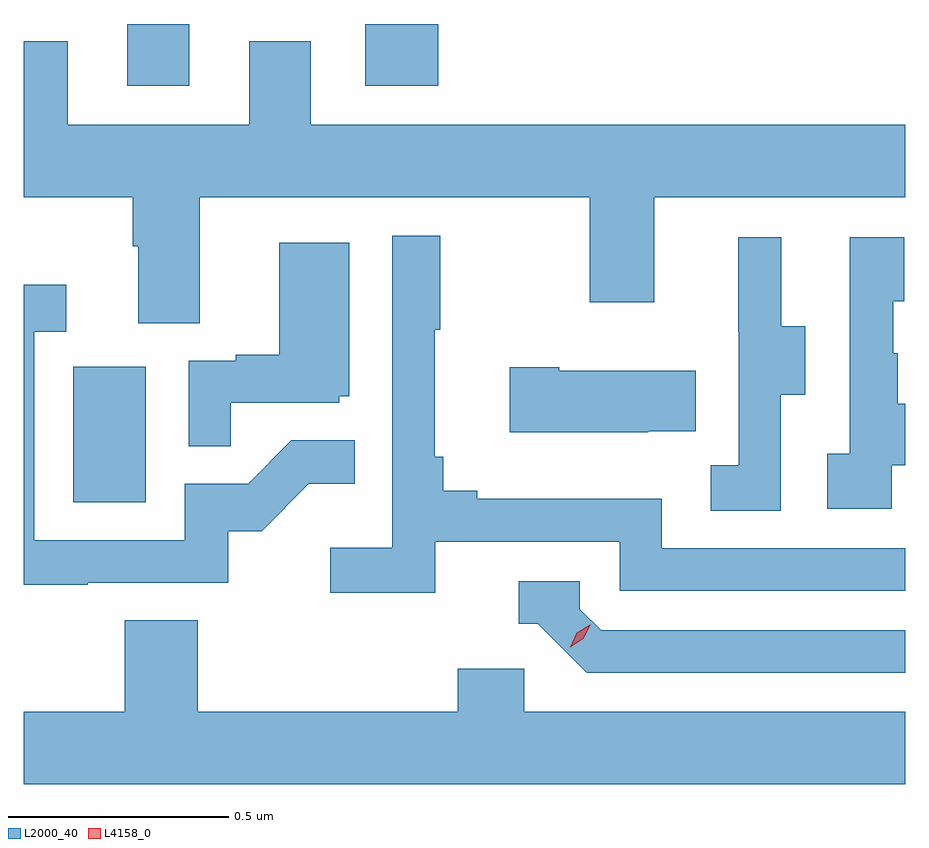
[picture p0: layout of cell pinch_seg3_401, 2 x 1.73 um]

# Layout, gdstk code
import gdstk
lib = gdstk.Library(unit=1e-6, precision=1e-09)
def R(c, l, rs):  # rectangles x0, y0, x1, y1
    for r in rs: c.add(gdstk.rectangle(r[:2], r[2:], *l))
def P(c, l, *ps):  # polygons
    for p in ps: c.add(gdstk.Polygon(p, *l))
L2000_40 = (2000, 40)
L4158_0 = (4158, 0)

pinch_seg3_401 = lib.new_cell('pinch_seg3_401')
R(pinch_seg3_401, L2000_40, [(925.448,693.564,925.612,693.871), (925.571,694.509,925.711,694.649), (926.111,694.509,926.276,694.649)])
P(pinch_seg3_401, L2000_40, [(925.735,694.256),(926.62,694.256),(926.62,694.017),(926.767,694.017),(926.767,694.256),(927.336,694.256),(927.336,694.42),(925.987,694.42),(925.987,694.61),(925.847,694.61),(925.847,694.42),(925.435,694.42),(925.435,694.61),(925.336,694.61),(925.336,694.256),(925.583,694.256),(925.583,694.144),(925.595,694.144),(925.595,693.97),(925.735,693.97)],
  [(926.27,693.474),(926.688,693.474),(926.688,693.363),(927.336,693.363),(927.336,693.459),(926.784,693.459),(926.784,693.571),(926.365,693.571),(926.365,693.59),(926.288,693.59),(926.288,693.667),(926.269,693.667),(926.269,693.955),(926.281,693.955),(926.281,694.168),(926.172,694.168),(926.172,693.46),(926.031,693.46),(926.031,693.358),(926.27,693.358)],
  [(927.054,693.808),(927.109,693.808),(927.109,693.963),(927.055,693.963),(927.055,694.165),(926.957,694.165),(926.957,693.951),(926.958,693.951),(926.958,693.647),(926.895,693.647),(926.895,693.544),(927.054,693.544)],
  [(927.306,693.647),(927.336,693.647),(927.336,693.787),(927.319,693.787),(927.319,693.902),(927.309,693.902),(927.309,694.02),(927.334,694.02),(927.334,694.165),(927.21,694.165),(927.21,693.674),(927.159,693.674),(927.159,693.549),(927.306,693.549)],
  [(925.805,693.789),(926.052,693.789),(926.052,693.804),(926.074,693.804),(926.074,694.153),(925.916,694.153),(925.916,693.898),(925.817,693.898),(925.817,693.885),(925.71,693.885),(925.71,693.691),(925.805,693.691)],
  [(925.481,693.381),(925.8,693.381),(925.8,693.498),(925.876,693.498),(925.983,693.605),(926.087,693.605),(926.087,693.704),(925.943,693.704),(925.845,693.606),(925.701,693.606),(925.701,693.477),(925.359,693.477),(925.359,693.951),(925.432,693.951),(925.432,694.057),(925.336,694.057),(925.336,693.376),(925.481,693.376)],
  [(926.753,693.725),(926.861,693.725),(926.861,693.862),(926.551,693.862),(926.551,693.87),(926.439,693.87),(926.439,693.722),(926.753,693.722)],
  [(927.336,693.273),(926.646,693.273),(926.598,693.321),(926.598,693.384),(926.459,693.384),(926.459,693.288),(926.502,693.288),(926.613,693.177),(927.336,693.177)],
  [(927.336,693.088),(926.472,693.088),(926.472,693.186),(926.321,693.186),(926.321,693.088),(925.73,693.088),(925.73,693.296),(925.565,693.296),(925.565,693.088),(925.336,693.088),(925.336,692.924),(927.336,692.924)])
P(pinch_seg3_401, L4158_0, [(926.576,693.234),(926.576,693.234),(926.591,693.267),(926.622,693.287),(926.622,693.287),(926.622,693.287),(926.606,693.254),(926.576,693.234)])

lib.write_gds('pinch_seg3_401.gds')
